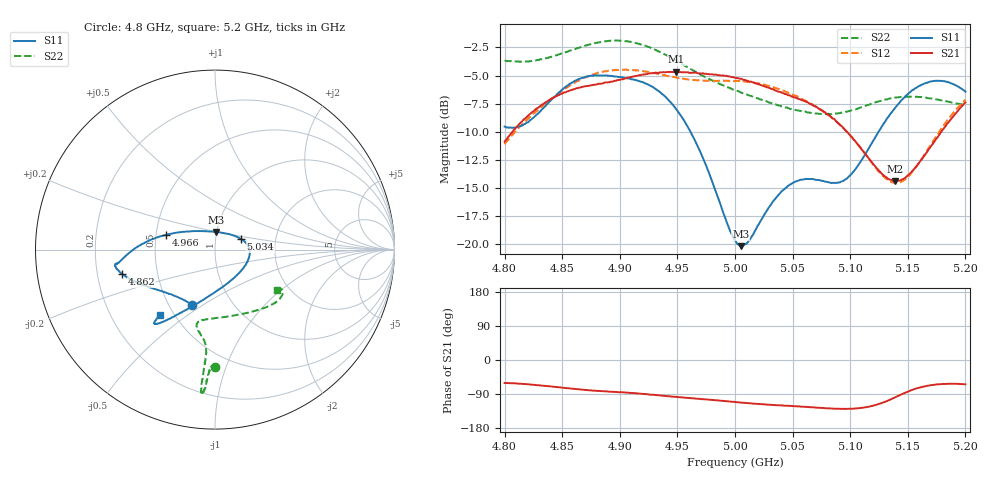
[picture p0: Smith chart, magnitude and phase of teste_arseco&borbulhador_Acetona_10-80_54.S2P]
! Network Analyzer HP8722D
! Hewlett-Packard
! Data name: Linha & Wilkinson
! Saver's name: Rodrigo Anjos
! Comments: Teste da utilização de aquisição
! continua pelo VNA HP8722D
! Time and date: 17/4/2025 14:48
!  Frequency  S11  S21  S12  S22
# HZ  S  MA R 50
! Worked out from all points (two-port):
!   401 points, 4.8 GHz to 5.2 GHz, reference 50 ohm
!   highest |S21| = -4.67 dB at 4.949 GHz (marker M1); lowest = -14.4 dB at 5.139 GHz (marker M2)
!   |S21| within 3 dB of the highest: 4.832 GHz to 5.068 GHz (236.5 MHz wide, 4.78 % of centre); 5.197631 GHz to end of sweep
!   lowest |S11| = -20.2 dB at 5.005 GHz (marker M3), VSWR 1.22, Z = 49.7 + j9.8 ohm
!   |S11| at or under -10 dB: 4.961 GHz to 5.125 GHz (163.3 MHz wide, 3.24 % of centre)
!   |S22| runs from -8.4 to -1.9 dB; largest |S21 - S12| = 0.88
!   S11 on the Smith chart (normalised r, x): 4.8 GHz: 0.65, -0.45; 4.862 GHz: 0.31, -0.12; 4.966 GHz: 0.57, +0.10; 5.034 GHz: 1.33, +0.16; 5.2 GHz: 0.42, -0.39
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4.8e9  0.3332 -113.0  0.2855 -60.7  0.2785 -174.8  0.656 -89.9
4.819e9  0.3464 -132.9  0.3668 -63.7  0.3551 -173.4  0.6504 -91.5
4.862e9  0.535 -165.3  0.4933 -76.8  0.5272 -176.4  0.741 -93.7
4.867e9  0.5481 -167.3  0.5001 -78.2  0.5417 -177.4  0.7558 -93.8
4.899e9  0.5537 -171.8  0.537 -85.0  0.595 175.7  0.8036 -95.2
4.934e9  0.4789 -177.8  0.5786 -93.4  0.5709 172.0  0.718 -95.6
4.949e9  0.3983 175.0  0.5844 -97.2  0.5519 172.3  0.6539 -95.2
4.966e9  0.2838 163.1  0.5798 -101.8  0.5362 173.8  0.5823 -94.8
5e9  0.1042 103.5  0.5497 -110.8  0.5328 176.5  0.4839 -99.1
5.005e9  0.09789 86.3  0.5442 -112.2  0.5289 176.4  0.4726 -100.2
5.012e9  0.1035 63.5  0.5291 -113.9  0.5269 176.1  0.459 -101.9
5.034e9  0.1569 22.1  0.4854 -118.8  0.4974 175.1  0.4195 -103.4
5.05e9  0.1869 5.7  0.4522 -121.8  0.4618 174.3  0.3982 -99.8
5.067e9  0.195 -12.5  0.4159 -124.8  0.4201 173.7  0.3833 -91.0
5.087e9  0.187 -44.4  0.3557 -128.4  0.3549 173.8  0.3808 -75.9
5.098e9  0.1979 -67.2  0.3127 -128.8  0.3124 174.6  0.3896 -66.7
5.134e9  0.3741 -115.8  0.1938 -105.6  0.1909 -158.3  0.444 -42.9
5.139e9  0.4046 -118.9  0.1907 -98.5  0.1872 -150.5  0.4485 -40.8
5.151e9  0.4691 -124.0  0.2037 -82.2  0.2015 -131.7  0.4533 -36.3
5.17e9  0.529 -128.4  0.2714 -66.5  0.2771 -112.6  0.445 -31.8
5.184e9  0.5269 -129.7  0.3424 -62.9  0.3539 -107.1  0.4313 -30.8
5.2e9  0.4764 -130.2  0.4263 -64.2  0.4384 -106.3  0.4147 -33.2
